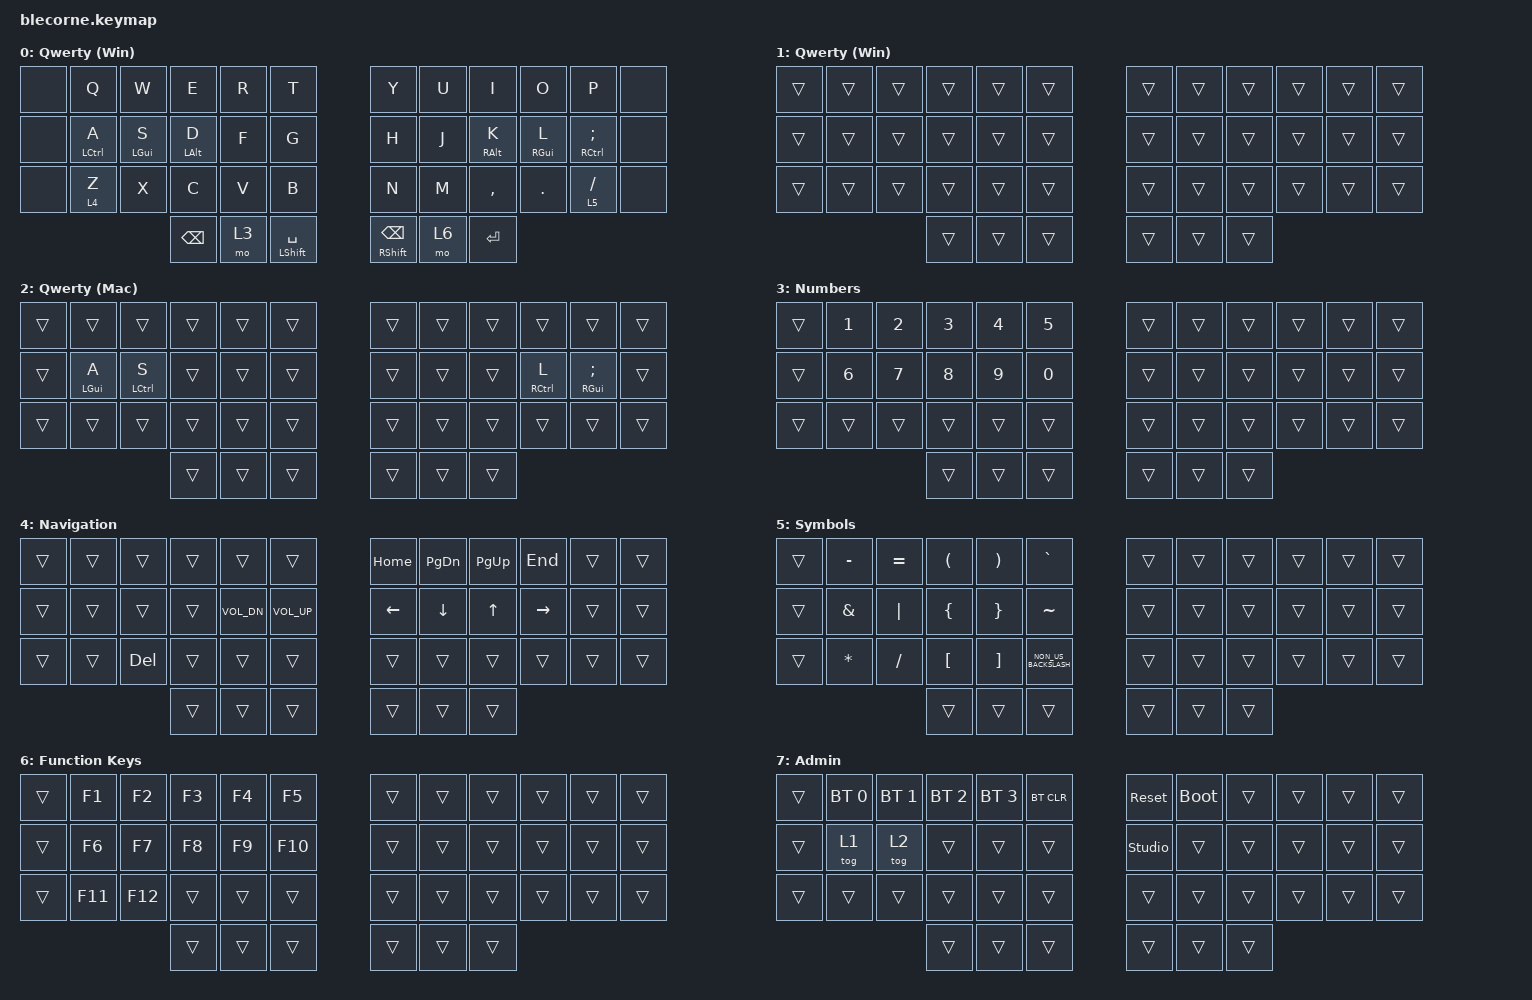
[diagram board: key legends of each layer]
/*
 * Copyright (c) 2020 The ZMK Contributors
 * SPDX-License-Identifier: MIT
 */

#include <behaviors.dtsi>
#include <dt-bindings/zmk/bt.h>
#include <dt-bindings/zmk/keys.h>

/* Active key positions — outer columns (0,11,12,23,24,35) excluded */

#define KEYS_L  1  2  3  4  5  13 14 15 16 17 25 26 27 28 29
#define KEYS_R  6  7  8  9  10 18 19 20 21 22 30 31 32 33 34
#define THUMBS  36 37 38 39 40 41

/ {
    chosen { zmk,physical-layout = &foostan_corne_6col_layout; };

    behaviors {
        hml: hml {
            compatible = "zmk,behavior-hold-tap";
            #binding-cells = <2>;
            flavor = "balanced";
            tapping-term-ms = <200>;
            quick-tap-ms = <175>;
            require-prior-idle-ms = <150>;
            hold-trigger-key-positions = <KEYS_R THUMBS>;
            hold-trigger-on-release; /* same-hand mod+key (Ctrl+F) works: decided on F's release */
            bindings = <&kp>, <&kp>;
        };

        hmr: hmr {
            compatible = "zmk,behavior-hold-tap";
            #binding-cells = <2>;
            flavor = "balanced";
            tapping-term-ms = <200>;
            quick-tap-ms = <175>;
            require-prior-idle-ms = <150>;
            hold-trigger-key-positions = <KEYS_L THUMBS>;
            hold-trigger-on-release;
            bindings = <&kp>, <&kp>;
        };

        /* Thumb shift/key: tap = key, hold = modifier, tap-then-hold = repeat key. */
        thm: thm {
            compatible = "zmk,behavior-hold-tap";
            #binding-cells = <2>;
            flavor = "balanced";
            tapping-term-ms = <200>;
            quick-tap-ms = <175>;
            bindings = <&kp>, <&kp>;
        };
    };

    conditional_layers {
        compatible = "zmk,conditional-layers";

        /* Holding NUM (mo 3) + FUNC (mo 6) activates ADMIN; so does NUM + NAV.
         * Neither needs a dedicated thumb key.
         *
         * ADMIN's layer index (7) must stay higher than every layer it can
         * combine with (FUNC=6, NAV=4): the display shows whichever active
         * layer has the highest index, so a lower-numbered conditional
         * layer would take effect for key bindings but never show up on
         * screen. */

        admin {
            if-layers = <3 6>;
            then-layer = <7>;
        };

        admin_leftonly {
            if-layers = <3 4>;
            then-layer = <7>;
        };
    };

    combos {
        compatible = "zmk,combos";

        /* Positions reference layer 0. No 'layers' restriction — combos fire in
         * all contexts (base, MAC overlay, and utility layers). */
        /* Non-adjacent combos — lower roll risk, no prior-idle guard needed */

        combo_tab {
            timeout-ms = <40>;
            key-positions = <1 2>;
            bindings = <&kp TAB>;
        };

        combo_ret {
            timeout-ms = <40>;
            key-positions = <1 4>;
            bindings = <&kp RET>;
        };

        combo_esc {
            timeout-ms = <40>;
            key-positions = <13 16>;
            bindings = <&kp ESC>;
        };

        combo_sqt {
            timeout-ms = <40>;
            key-positions = <21 22>;
            bindings = <&kp SQT>;
        };

        /* Adjacent/roll-prone combos — require-prior-idle-ms 150 gates fast typing
         * rolls. If misfires persist, raise timeout-ms (primary tuning knob).
         *
         * Win/Mac split: base profile layer (0/1 Win, 2 Mac) stays active
         * underneath any stacked momentary layer (NUM/NAV/SYM/FUNC/ADMIN), so
         * restricting by base layer here still fires correctly while those are
         * held. */

        combo_undo {
            timeout-ms = <40>;
            require-prior-idle-ms = <150>;
            key-positions = <25 38>;
            layers = <0 1>;
            bindings = <&kp LC(Z)>;
        };

        combo_undo_mac {
            timeout-ms = <40>;
            require-prior-idle-ms = <150>;
            key-positions = <25 38>;
            layers = <2>;
            bindings = <&kp LG(Z)>;
        };

        combo_cut {
            timeout-ms = <60>;
            require-prior-idle-ms = <150>;
            key-positions = <25 26>;
            layers = <0 1>;
            bindings = <&kp LC(X)>;
        };

        combo_cut_mac {
            timeout-ms = <60>;
            require-prior-idle-ms = <150>;
            key-positions = <25 26>;
            layers = <2>;
            bindings = <&kp LG(X)>;
        };

        combo_copy {
            timeout-ms = <60>;
            require-prior-idle-ms = <75>;
            key-positions = <26 27>;
            layers = <0 1>;
            bindings = <&kp LC(C)>;
        };

        combo_copy_mac {
            timeout-ms = <60>;
            require-prior-idle-ms = <75>;
            key-positions = <26 27>;
            layers = <2>;
            bindings = <&kp LG(C)>;
        };

        combo_paste {
            timeout-ms = <60>;
            require-prior-idle-ms = <150>;
            key-positions = <27 28>;
            layers = <0 1>;
            bindings = <&kp LC(V)>;
        };

        combo_paste_mac {
            timeout-ms = <60>;
            require-prior-idle-ms = <150>;
            key-positions = <27 28>;
            layers = <2>;
            bindings = <&kp LG(V)>;
        };

        /* Both shift thumbs simultaneously → Caps Word */
        combo_caps_word {
            timeout-ms = <50>;
            key-positions = <38 39>;
            bindings = <&caps_word>;
        };
    };

    keymap {
        compatible = "zmk,keymap";

        qwerty_win_layer {
            display-name = "Qwerty (Win)";
            bindings = <
&none          &kp Q         &kp W        &kp E        &kp R  &kp T            &kp Y           &kp U  &kp I        &kp O        &kp P            &none
&none          &hml LCTRL A  &hml LGUI S  &hml LALT D  &kp F  &kp G            &kp H           &kp J  &hmr RALT K  &hmr RGUI L  &hmr RCTRL SEMI  &none
&none          &lt 4 Z       &kp X        &kp C        &kp V  &kp B            &kp N           &kp M  &kp COMMA    &kp DOT      &lt 5 FSLH       &none
                                &kp BACKSPACE  &mo 3  &thm LSHFT SPACE  &thm RSHFT BSPC  &mo 6  &kp ENTER
            >;
        };

        /* QWERTY WIN "profile" toggle target — fully transparent, no bindings
         * of its own (identical to being on layer 0 alone). Exists only so
         * "return to Qwerty Win" can be an explicit &tog target symmetric with
         * the other profile below, instead of relying on toggling it off by
         * hand.
         * Activated via &tog 1 from ADMIN. */

        qwerty_win_profile_layer {
            display-name = "Qwerty (Win)";
            bindings = <
&trans  &trans  &trans  &trans  &trans  &trans  &trans  &trans  &trans  &trans  &trans  &trans
&trans  &trans  &trans  &trans  &trans  &trans  &trans  &trans  &trans  &trans  &trans  &trans
&trans  &trans  &trans  &trans  &trans  &trans  &trans  &trans  &trans  &trans  &trans  &trans
                        &trans  &trans  &trans  &trans  &trans  &trans
            >;
        };

        /* QWERTY MAC overlay — swaps Ctrl↔GUI on homerow only; everything else transparent.
         * Activated via &tog 2 from ADMIN. &tog state is runtime-only (not written
         * to NVS), so this layer is always off on power cycle.
         * Layer 2 < NUM(3)/NAV(4)/SYM(5): those layers always win on scan. */

        qwerty_mac_layer {
            display-name = "Qwerty (Mac)";
            bindings = <
&trans  &trans       &trans        &trans  &trans  &trans  &trans  &trans  &trans  &trans        &trans          &trans
&trans  &hml LGUI A  &hml LCTRL S  &trans  &trans  &trans  &trans  &trans  &trans  &hmr RCTRL L  &hmr RGUI SEMI  &trans
&trans  &trans       &trans        &trans  &trans  &trans  &trans  &trans  &trans  &trans        &trans          &trans
                                   &trans  &trans  &trans  &trans  &trans  &trans
            >;
        };

        /* NUM — left: 1-5 top row, 6-0 homerow; right: &trans */

        num_layer {
            display-name = "Numbers";
            bindings = <
&trans  &kp NUMBER_1  &kp NUMBER_2  &kp NUMBER_3  &kp NUMBER_4  &kp N5        &trans  &trans  &trans  &trans  &trans  &trans
&trans  &kp NUMBER_6  &kp N7        &kp N8        &kp NUMBER_9  &kp NUMBER_0  &trans  &trans  &trans  &trans  &trans  &trans
&trans  &trans        &trans        &trans        &trans        &trans        &trans  &trans  &trans  &trans  &trans  &trans
                                    &trans        &trans        &trans        &trans  &trans  &trans
            >;
        };

        /* NAV — right homerow: hjkl arrows; right top: home/pgup/pgdn/end;
         * right bottom: Ctrl+Left/Right word motions; left: del + vol */

        nav_layer {
            display-name = "Navigation";
            bindings = <
&trans  &trans  &trans      &trans  &trans        &trans        &kp HOME  &kp PAGE_DOWN  &kp PAGE_UP  &kp END    &trans  &trans
&trans  &trans  &trans      &trans  &kp C_VOL_DN  &kp C_VOL_UP  &kp LEFT  &kp DOWN       &kp UP       &kp RIGHT  &trans  &trans
&trans  &trans  &kp DELETE  &trans  &trans        &trans        &trans    &trans         &trans       &trans     &trans  &trans
                            &trans  &trans        &trans        &trans    &trans         &trans
            >;
        };

        sym_layer {
            display-name = "Symbols";
            bindings = <
&trans  &kp MINUS      &kp EQUAL  &kp LEFT_PARENTHESIS  &kp RIGHT_PARENTHESIS  &kp GRAVE             &trans  &trans  &trans  &trans  &trans  &trans
&trans  &kp AMPERSAND  &kp PIPE   &kp LEFT_BRACE        &kp RIGHT_BRACE        &kp TILDE             &trans  &trans  &trans  &trans  &trans  &trans
&trans  &kp ASTERISK   &kp SLASH  &kp LEFT_BRACKET      &kp RIGHT_BRACKET      &kp NON_US_BACKSLASH  &trans  &trans  &trans  &trans  &trans  &trans
                                  &trans                &trans                 &trans                &trans  &trans  &trans
            >;
        };

        /* FUNC — must stay numerically lower than ADMIN, see conditional_layers above. */

        func_layer {
            display-name = "Function Keys";
            bindings = <
&trans  &kp F1   &kp F2   &kp F3  &kp F4  &kp F5   &trans  &trans  &trans  &trans  &trans  &trans
&trans  &kp F6   &kp F7   &kp F8  &kp F9  &kp F10  &trans  &trans  &trans  &trans  &trans  &trans
&trans  &kp F11  &kp F12  &trans  &trans  &trans   &trans  &trans  &trans  &trans  &trans  &trans
                          &trans  &trans  &trans   &trans  &trans  &trans
            >;
        };

        /* ADMIN — conditional: NUM(3) + FUNC(6) held simultaneously.
         * Top row left: BT device select 0-3, BT clear.
         * Top row right: sys_reset, bootloader.
         * Homerow left: tog 1 = Qwerty Win, tog 2 = Qwerty Mac.
         * Homerow right H: studio unlock.
         * All tog states are runtime-only — always off on power cycle (Qwerty Win default). */

        admin_layer {
            display-name = "Admin";
            bindings = <
&trans  &bt BT_SEL 0  &bt BT_SEL 1  &bt BT_SEL 2  &bt BT_SEL 3  &bt BT_CLR  &sys_reset      &bootloader  &trans  &trans  &trans  &trans
&trans  &tog 1        &tog 2        &trans        &trans        &trans      &studio_unlock  &trans       &trans  &trans  &trans  &trans
&trans  &trans        &trans        &trans        &trans        &trans      &trans          &trans       &trans  &trans  &trans  &trans
                                    &trans        &trans        &trans      &trans          &trans       &trans
            >;
        };
    };
};
